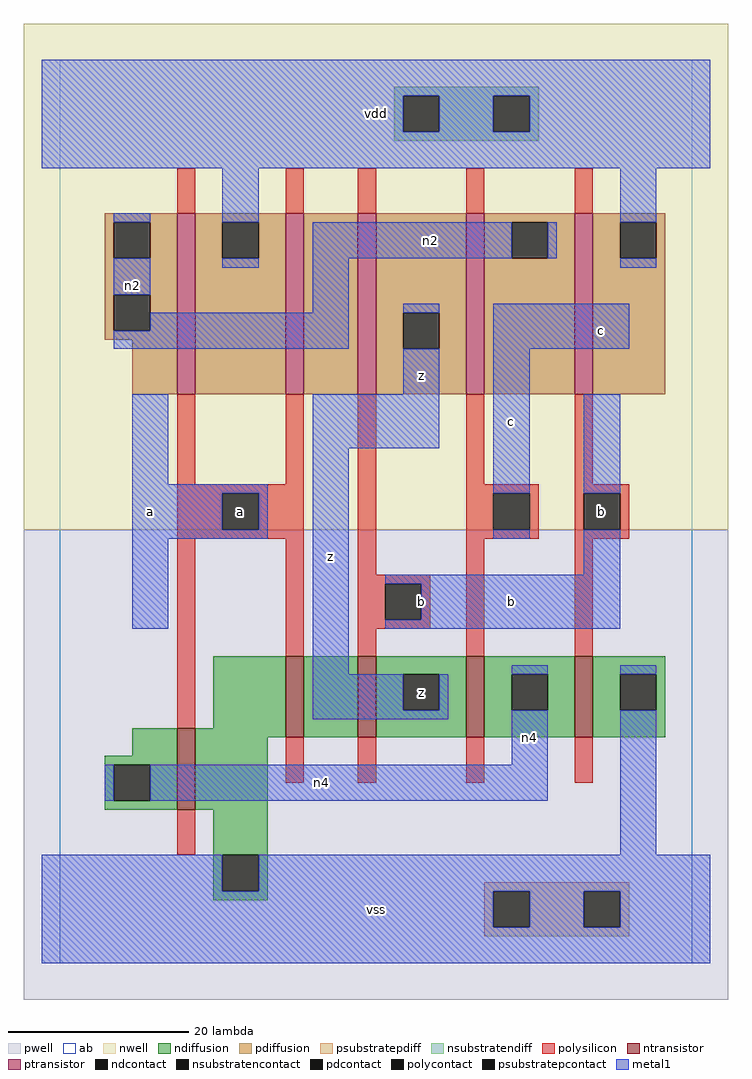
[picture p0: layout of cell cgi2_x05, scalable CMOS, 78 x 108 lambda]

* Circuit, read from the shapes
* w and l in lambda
.subckt cgi2_x05 a b c n2 n4 vdd vss z
M1 vss a n4 vss nfet w=9 l=2
M2 n1 a vss vss nfet w=9 l=2
M3 z b n1 vss nfet w=9 l=2
M4 n4 c z vss nfet w=9 l=2
M5 vss b n4 vss nfet w=9 l=2
M6 vdd a n2 vdd pfet w=20 l=2
M7 n3 a vdd vdd pfet w=20 l=2
M8 z b n3 vdd pfet w=20 l=2
M9 n2 c z vdd pfet w=20 l=2
M10 vdd b n2 vdd pfet w=20 l=2
.ends

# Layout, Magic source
magic
tech scmos
<< ab >>
rect 0 0 70 100
<< pwell >>
rect -4 -4 74 48
<< nwell >>
rect -4 48 74 104
<< polysilicon >>
rect 13 83 15 88
rect 25 83 27 88
rect 33 83 35 88
rect 45 83 47 88
rect 57 83 59 88
rect 13 53 15 63
rect 25 53 27 63
rect 13 52 27 53
rect 13 48 18 52
rect 22 48 27 52
rect 13 47 27 48
rect 13 26 15 47
rect 25 34 27 47
rect 33 43 35 63
rect 45 53 47 63
rect 57 53 59 63
rect 45 52 53 53
rect 45 48 48 52
rect 52 48 53 52
rect 45 47 53 48
rect 57 52 63 53
rect 57 48 58 52
rect 62 48 63 52
rect 57 47 63 48
rect 33 42 41 43
rect 33 38 36 42
rect 40 38 41 42
rect 33 37 41 38
rect 33 34 35 37
rect 45 34 47 47
rect 57 34 59 47
rect 25 20 27 25
rect 33 20 35 25
rect 45 20 47 25
rect 57 20 59 25
rect 13 12 15 17
<< ndiffusion >>
rect 17 26 25 34
rect 8 23 13 26
rect 5 22 13 23
rect 5 18 6 22
rect 10 18 13 22
rect 5 17 13 18
rect 15 25 25 26
rect 27 25 33 34
rect 35 32 45 34
rect 35 28 38 32
rect 42 28 45 32
rect 35 25 45 28
rect 47 32 57 34
rect 47 28 50 32
rect 54 28 57 32
rect 47 25 57 28
rect 59 32 67 34
rect 59 28 62 32
rect 66 28 67 32
rect 59 25 67 28
rect 15 17 23 25
rect 17 12 23 17
rect 17 8 18 12
rect 22 8 23 12
rect 17 7 23 8
<< pdiffusion >>
rect 5 82 13 83
rect 5 78 6 82
rect 10 78 13 82
rect 5 74 13 78
rect 5 70 6 74
rect 10 70 13 74
rect 5 69 13 70
rect 8 63 13 69
rect 15 82 25 83
rect 15 78 18 82
rect 22 78 25 82
rect 15 63 25 78
rect 27 63 33 83
rect 35 72 45 83
rect 35 68 38 72
rect 42 68 45 72
rect 35 63 45 68
rect 47 82 57 83
rect 47 78 50 82
rect 54 78 57 82
rect 47 63 57 78
rect 59 82 67 83
rect 59 78 62 82
rect 66 78 67 82
rect 59 63 67 78
<< metal1 >>
rect -2 96 72 100
rect -2 92 38 96
rect 42 92 48 96
rect 52 92 72 96
rect -2 88 72 92
rect 6 82 10 83
rect 6 74 10 78
rect 18 82 22 88
rect 62 82 66 88
rect 18 77 22 78
rect 28 78 50 82
rect 54 78 55 82
rect 28 72 32 78
rect 62 77 66 78
rect 10 70 32 72
rect 6 68 32 70
rect 38 72 42 73
rect 38 63 42 68
rect 8 53 12 63
rect 28 57 42 63
rect 48 68 63 73
rect 8 52 23 53
rect 8 48 18 52
rect 22 48 23 52
rect 8 47 23 48
rect 8 37 12 47
rect 28 32 32 57
rect 48 52 52 68
rect 48 47 52 48
rect 58 52 62 63
rect 58 43 62 48
rect 36 42 62 43
rect 40 38 62 42
rect 36 37 62 38
rect 50 32 54 33
rect 28 28 38 32
rect 42 28 43 32
rect 28 27 43 28
rect 50 22 54 28
rect 5 18 6 22
rect 10 18 54 22
rect 62 32 66 33
rect 62 12 66 28
rect -2 8 18 12
rect 22 8 72 12
rect -2 4 48 8
rect 52 4 58 8
rect 62 4 72 8
rect -2 0 72 4
<< ntransistor >>
rect 13 17 15 26
rect 25 25 27 34
rect 33 25 35 34
rect 45 25 47 34
rect 57 25 59 34
<< ptransistor >>
rect 13 63 15 83
rect 25 63 27 83
rect 33 63 35 83
rect 45 63 47 83
rect 57 63 59 83
<< polycontact >>
rect 18 48 22 52
rect 48 48 52 52
rect 58 48 62 52
rect 36 38 40 42
<< ndcontact >>
rect 6 18 10 22
rect 38 28 42 32
rect 50 28 54 32
rect 62 28 66 32
rect 18 8 22 12
<< pdcontact >>
rect 6 78 10 82
rect 6 70 10 74
rect 18 78 22 82
rect 38 68 42 72
rect 50 78 54 82
rect 62 78 66 82
<< psubstratepcontact >>
rect 48 4 52 8
rect 58 4 62 8
<< nsubstratencontact >>
rect 38 92 42 96
rect 48 92 52 96
<< psubstratepdiff >>
rect 47 8 63 9
rect 47 4 48 8
rect 52 4 58 8
rect 62 4 63 8
rect 47 3 63 4
<< nsubstratendiff >>
rect 37 96 53 97
rect 37 92 38 96
rect 42 92 48 96
rect 52 92 53 96
rect 37 91 53 92
<< labels >>
rlabel metal1 8 75 8 75 6 n2
rlabel metal1 10 50 10 50 6 a
rlabel polycontact 20 50 20 50 6 a
rlabel metal1 35 6 35 6 6 vss
rlabel metal1 30 45 30 45 6 z
rlabel metal1 35 94 35 94 6 vdd
rlabel metal1 52 25 52 25 6 n4
rlabel metal1 29 20 29 20 6 n4
rlabel ndcontact 40 30 40 30 6 z
rlabel metal1 50 40 50 40 6 b
rlabel metal1 40 40 40 40 6 b
rlabel metal1 50 60 50 60 6 c
rlabel metal1 40 65 40 65 6 z
rlabel metal1 41 80 41 80 6 n2
rlabel polycontact 60 50 60 50 6 b
rlabel metal1 60 70 60 70 6 c
<< end >>
